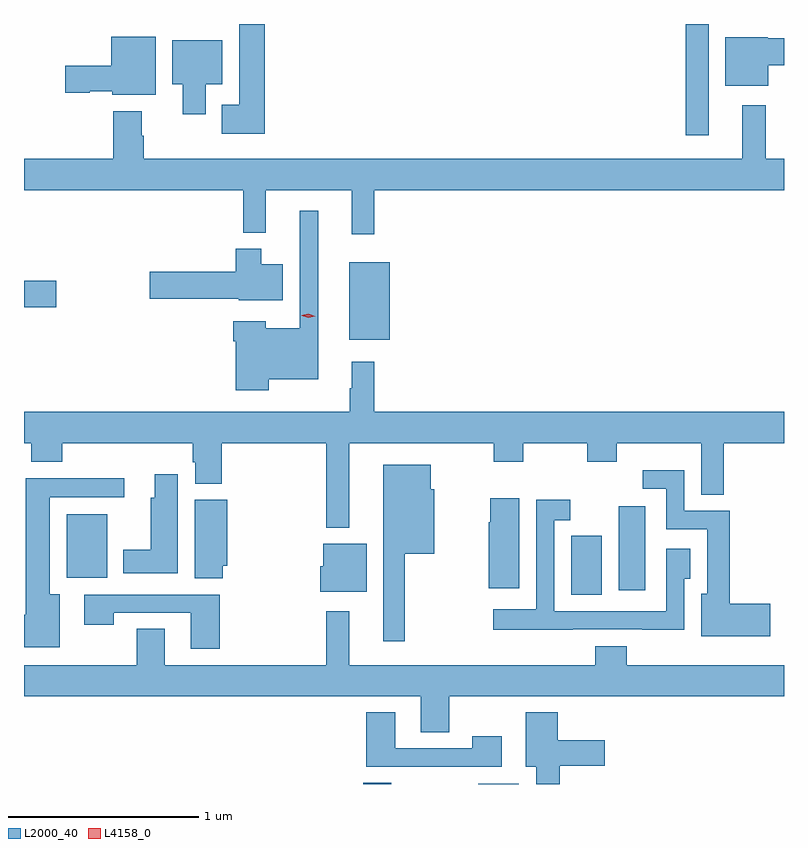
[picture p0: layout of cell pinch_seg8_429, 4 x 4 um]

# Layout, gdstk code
import gdstk
lib = gdstk.Library(unit=1e-6, precision=1e-09)
def R(c, l, rs):  # rectangles x0, y0, x1, y1
    for r in rs: c.add(gdstk.rectangle(r[:2], r[2:], *l))
def P(c, l, *ps):  # polygons
    for p in ps: c.add(gdstk.Polygon(p, *l))
L2000_40 = (2000, 40)
L4158_0 = (4158, 0)

pinch_seg8_429 = lib.new_cell('pinch_seg8_429')
R(pinch_seg8_429, L2000_40, [(291.002,1125.362,291.148,1125.368), (291.608,1125.362,291.82,1125.364), (292.097,1126.357,292.258,1126.668), (292.346,1126.382,292.486,1126.825), (289.442,1126.448,289.654,1126.783), (290.927,1127.699,291.142,1128.109), (289.216,1127.87,289.387,1128.012), (292.698,1128.777,292.819,1129.362)])
P(pinch_seg8_429, L2000_40, [(290.483,1129.362),(290.348,1129.362),(290.348,1128.937),(290.258,1128.937),(290.258,1128.785),(290.483,1128.785)],
  [(289.909,1129.294),(289.676,1129.294),(289.676,1129.142),(289.434,1129.142),(289.434,1129),(289.563,1129),(289.563,1129.007),(289.68,1129.007),(289.68,1128.989),(289.909,1128.989)],
  [(293.134,1129.144),(293.216,1129.144),(293.216,1129.286),(293.13,1129.286),(293.13,1129.291),(292.907,1129.291),(292.907,1129.037),(293.134,1129.037)],
  [(290.173,1129.046),(290.26,1129.046),(290.26,1129.276),(289.997,1129.276),(289.997,1129.046),(290.051,1129.046),(290.051,1128.888),(290.173,1128.888)],
  [(291.059,1128.488),(293.216,1128.488),(293.216,1128.652),(293.119,1128.652),(293.119,1128.934),(292.997,1128.934),(292.997,1128.652),(289.845,1128.652),(289.845,1128.773),(289.837,1128.773),(289.837,1128.904),(289.685,1128.904),(289.685,1128.652),(289.216,1128.652),(289.216,1128.488),(290.371,1128.488),(290.371,1128.263),(290.489,1128.263),(290.489,1128.488),(290.942,1128.488),(290.942,1128.255),(291.059,1128.255)],
  [(290.505,1127.492),(290.764,1127.492),(290.764,1128.379),(290.667,1128.379),(290.667,1127.761),(290.488,1127.761),(290.488,1127.797),(290.318,1127.797),(290.318,1127.693),(290.33,1127.693),(290.33,1127.435),(290.505,1127.435)],
  [(290.578,1128.097),(290.464,1128.097),(290.464,1128.178),(290.33,1128.178),(290.33,1128.057),(289.878,1128.057),(289.878,1127.915),(290.346,1127.915),(290.346,1127.909),(290.578,1127.909)],
  [(289.216,1127.156),(289.253,1127.156),(289.253,1127.057),(289.418,1127.057),(289.418,1127.156),(290.105,1127.156),(290.105,1127.055),(290.117,1127.055),(290.117,1126.943),(290.258,1126.943),(290.258,1127.156),(290.808,1127.156),(290.808,1126.712),(290.929,1126.712),(290.929,1127.156),(291.688,1127.156),(291.688,1127.057),(291.843,1127.057),(291.843,1127.156),(292.18,1127.156),(292.18,1127.057),(292.335,1127.057),(292.335,1127.156),(292.781,1127.156),(292.781,1126.885),(292.9,1126.885),(292.9,1127.156),(293.216,1127.156),(293.216,1127.32),(291.059,1127.32),(291.059,1127.584),(290.942,1127.584),(290.942,1127.444),(290.931,1127.444),(290.931,1127.32),(289.216,1127.32)],
  [(291.221,1126.574),(291.376,1126.574),(291.376,1126.914),(291.358,1126.914),(291.358,1127.041),(291.107,1127.041),(291.107,1126.113),(291.221,1126.113)],
  [(293.143,1126.31),(292.93,1126.31),(292.93,1126.8),(292.692,1126.8),(292.692,1127.014),(292.473,1127.014),(292.473,1126.917),(292.596,1126.917),(292.596,1126.704),(292.811,1126.704),(292.811,1126.363),(292.781,1126.363),(292.781,1126.139),(293.143,1126.139)],
  [(290.026,1126.993),(289.904,1126.993),(289.904,1126.869),(289.883,1126.869),(289.883,1126.594),(289.739,1126.594),(289.739,1126.472),(290.026,1126.472)],
  [(289.405,1126.36),(289.351,1126.36),(289.351,1126.872),(289.744,1126.872),(289.744,1126.97),(289.226,1126.97),(289.226,1126.253),(289.216,1126.253),(289.216,1126.082),(289.405,1126.082)],
  [(291.823,1126.867),(291.67,1126.867),(291.67,1126.74),(291.662,1126.74),(291.662,1126.392),(291.823,1126.392)],
  [(292.105,1126.176),(292.471,1126.176),(292.471,1126.175),(292.692,1126.175),(292.692,1126.441),(292.723,1126.441),(292.723,1126.6),(292.596,1126.6),(292.596,1126.272),(292.008,1126.272),(292.008,1126.749),(292.09,1126.749),(292.09,1126.858),(291.912,1126.858),(291.912,1126.282),(291.687,1126.282),(291.687,1126.175),(292.105,1126.175)],
  [(290.261,1126.511),(290.287,1126.511),(290.287,1126.858),(290.114,1126.858),(290.114,1126.444),(290.261,1126.444)],
  [(291.019,1126.627),(290.792,1126.627),(290.792,1126.509),(290.774,1126.509),(290.774,1126.373),(291.019,1126.373)],
  [(290.246,1126.359),(289.533,1126.359),(289.533,1126.2),(289.689,1126.2),(289.689,1126.263),(290.093,1126.263),(290.093,1126.074),(290.246,1126.074)],
  [(291.453,1125.824),(293.216,1125.824),(293.216,1125.988),(292.388,1125.988),(292.388,1126.087),(292.223,1126.087),(292.223,1125.988),(290.929,1125.988),(290.929,1126.27),(290.808,1126.27),(290.808,1125.988),(289.957,1125.988),(289.957,1126.178),(289.81,1126.178),(289.81,1125.988),(289.216,1125.988),(289.216,1125.824),(291.305,1125.824),(291.305,1125.634),(291.453,1125.634)],
  [(291.73,1125.613),(291.574,1125.613),(291.574,1125.549),(291.169,1125.549),(291.169,1125.739),(291.017,1125.739),(291.017,1125.453),(291.73,1125.453)],
  [(292.037,1125.458),(292.273,1125.458),(292.273,1125.592),(292.024,1125.592),(292.024,1125.739),(291.857,1125.739),(291.857,1125.452),(291.911,1125.452),(291.911,1125.362),(292.037,1125.362)])
P(pinch_seg8_429, L4158_0, [(290.712,1127.816),(290.678,1127.827),(290.677,1127.827),(290.678,1127.828),(290.713,1127.836),(290.748,1127.824),(290.749,1127.824),(290.748,1127.824)])

lib.write_gds('pinch_seg8_429.gds')
